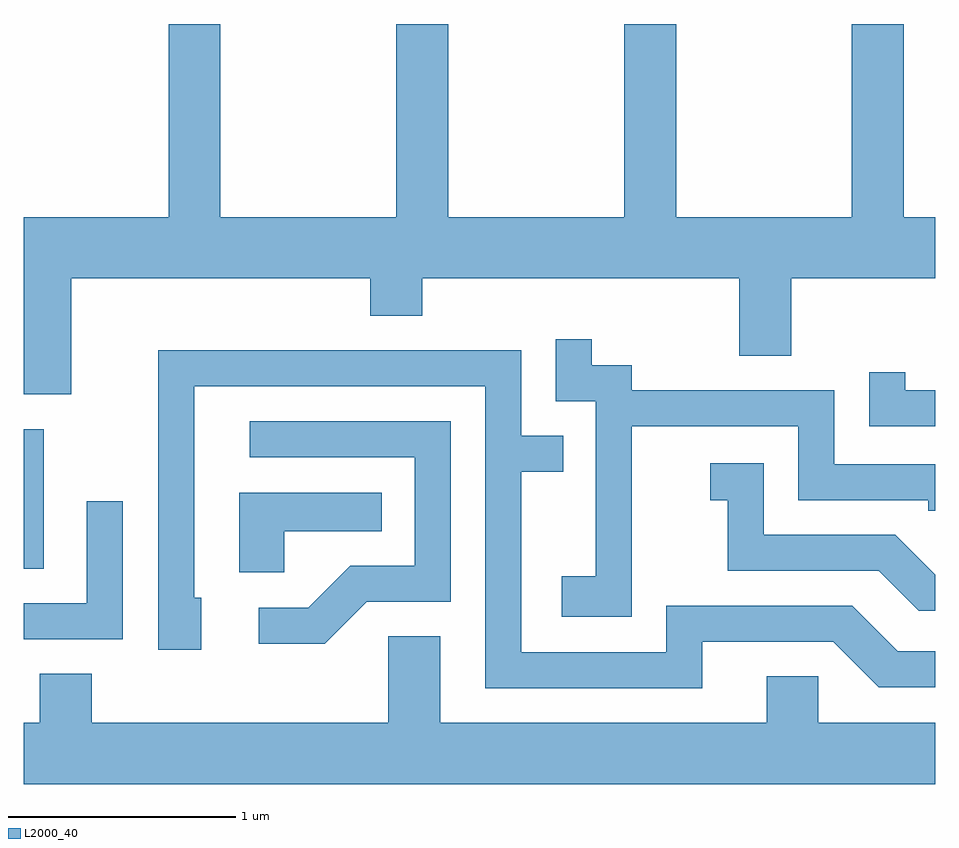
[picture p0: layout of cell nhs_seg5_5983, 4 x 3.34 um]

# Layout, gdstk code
import gdstk
lib = gdstk.Library(unit=1e-6, precision=1e-09)
def R(c, l, rs):  # rectangles x0, y0, x1, y1
    for r in rs: c.add(gdstk.rectangle(r[:2], r[2:], *l))
def P(c, l, *ps):  # polygons
    for p in ps: c.add(gdstk.Polygon(p, *l))
L2000_40 = (2000, 40)

nhs_seg5_5983 = lib.new_cell('nhs_seg5_5983')
R(nhs_seg5_5983, L2000_40, [(361.611,1517.681,361.699,1518.294)])
P(nhs_seg5_5983, L2000_40, [(361.819,1518.956),(363.131,1518.956),(363.131,1518.791),(363.359,1518.791),(363.359,1518.956),(364.751,1518.956),(364.751,1518.616),(364.979,1518.616),(364.979,1518.956),(365.611,1518.956),(365.611,1519.224),(365.474,1519.224),(365.474,1520.072),(365.246,1520.072),(365.246,1519.224),(364.474,1519.224),(364.474,1520.072),(364.246,1520.072),(364.246,1519.224),(363.474,1519.224),(363.474,1520.072),(363.246,1520.072),(363.246,1519.224),(362.474,1519.224),(362.474,1520.072),(362.246,1520.072),(362.246,1519.224),(361.611,1519.224),(361.611,1518.446),(361.819,1518.446)],
  [(364.279,1518.306),(365.011,1518.306),(365.011,1517.981),(365.581,1517.981),(365.581,1517.936),(365.611,1517.936),(365.611,1518.139),(365.169,1518.139),(365.169,1518.464),(364.279,1518.464),(364.279,1518.574),(364.104,1518.574),(364.104,1518.688),(363.946,1518.688),(363.946,1518.416),(364.121,1518.416),(364.121,1517.649),(363.971,1517.649),(363.971,1517.471),(364.279,1517.471)],
  [(364.589,1517.361),(365.164,1517.361),(365.364,1517.161),(365.611,1517.161),(365.611,1517.319),(365.447,1517.319),(365.247,1517.519),(364.431,1517.519),(364.431,1517.314),(363.794,1517.314),(363.794,1518.106),(363.978,1518.106),(363.978,1518.264),(363.794,1518.264),(363.794,1518.639),(362.201,1518.639),(362.201,1517.326),(362.389,1517.326),(362.389,1517.554),(362.359,1517.554),(362.359,1518.481),(363.636,1518.481),(363.636,1517.156),(364.589,1517.156)],
  [(365.611,1518.464),(365.479,1518.464),(365.479,1518.543),(365.321,1518.543),(365.321,1518.306),(365.611,1518.306)],
  [(363.117,1517.536),(363.484,1517.536),(363.484,1518.329),(362.603,1518.329),(362.603,1518.171),(363.326,1518.171),(363.326,1517.694),(363.044,1517.694),(362.859,1517.509),(362.643,1517.509),(362.643,1517.351),(362.932,1517.351)],
  [(365.611,1517.655),(365.437,1517.829),(364.859,1517.829),(364.859,1518.144),(364.623,1518.144),(364.623,1517.981),(364.701,1517.981),(364.701,1517.671),(365.364,1517.671),(365.539,1517.496),(365.611,1517.496)],
  [(362.754,1517.846),(363.183,1517.846),(363.183,1518.014),(362.556,1518.014),(362.556,1517.666),(362.754,1517.666)],
  [(362.044,1517.978),(361.886,1517.978),(361.886,1517.529),(361.611,1517.529),(361.611,1517.371),(362.044,1517.371)],
  [(365.611,1517.004),(365.099,1517.004),(365.099,1517.209),(364.871,1517.209),(364.871,1517.004),(363.439,1517.004),(363.439,1517.384),(363.211,1517.384),(363.211,1517.004),(361.909,1517.004),(361.909,1517.219),(361.681,1517.219),(361.681,1517.004),(361.611,1517.004),(361.611,1516.736),(365.611,1516.736)])

lib.write_gds('nhs_seg5_5983.gds')
